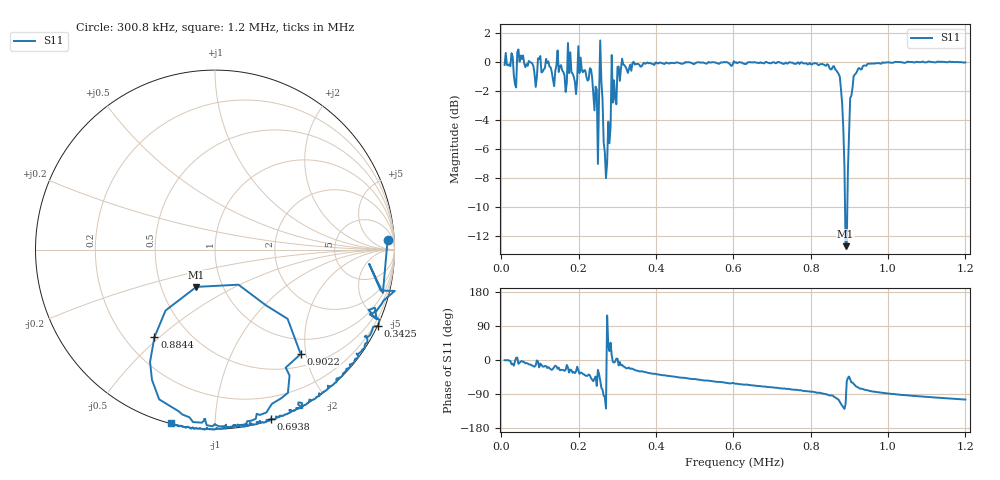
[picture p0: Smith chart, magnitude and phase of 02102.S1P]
!Agilent Technologies,E5071C,MY46100305,A.07.02
!Date: Fri Jan 01 01:42:37 1988
!Data & Calibration Information:
!Freq	S11:SOLT1(ON)
# Hz S RI R 50
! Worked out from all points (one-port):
!   401 points, 9 kHz to 1.2 MHz, reference 50 ohm
!   lowest |S11| = -12.7 dB at 890.3 kHz (marker M1), VSWR 1.61, Z = 37.5 - j16.5 ohm
!   |S11| at or under -10 dB: 888.9 kHz to 894.8 kHz (5.94 kHz wide, 0.666 % of centre)
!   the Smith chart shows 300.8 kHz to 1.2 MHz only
!   S11 on the Smith chart (normalised r, x): 300.8 kHz: 16, +24; 342.5 kHz: -0.04, -4.52; 693.8 kHz: 0.01, -1.38; 884.4 kHz: 0.32, -0.48; 902.2 kHz: 0.71, -1.90; 1.2 MHz: 0.00, -0.78
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9000  0.9783 -0.00911
157875  0.8415 -0.4116
187650  0.76 -0.4669
202538  0.7389 -0.5447
232313  0.6349 -0.7004
244223  0.597 -0.5679
250178  0.4009 -0.196
262088  0.1506 -0.7291
268043  -0.067 -0.4842
276975  0.4876 0.3884
279953  0.4829 0.2082
285908  1.036 0.2146
300795  0.9619 0.0562
306750  0.8587 -0.0796
342480  0.9096 -0.4234
455625  0.7018 -0.7095
604500  0.458 -0.8845
693825  0.3102 -0.9427
753375  0.2068 -0.9748
863543  -0.1422 -0.9346
875453  -0.3111 -0.8344
884385  -0.3377 -0.4889
890340  -0.1041 -0.2078
902250  0.4775 -0.5821
914160  0.3679 -0.8289
929048  0.2319 -0.9151
1051125  -0.0593 -1.003
1200000  -0.246 -0.9679
